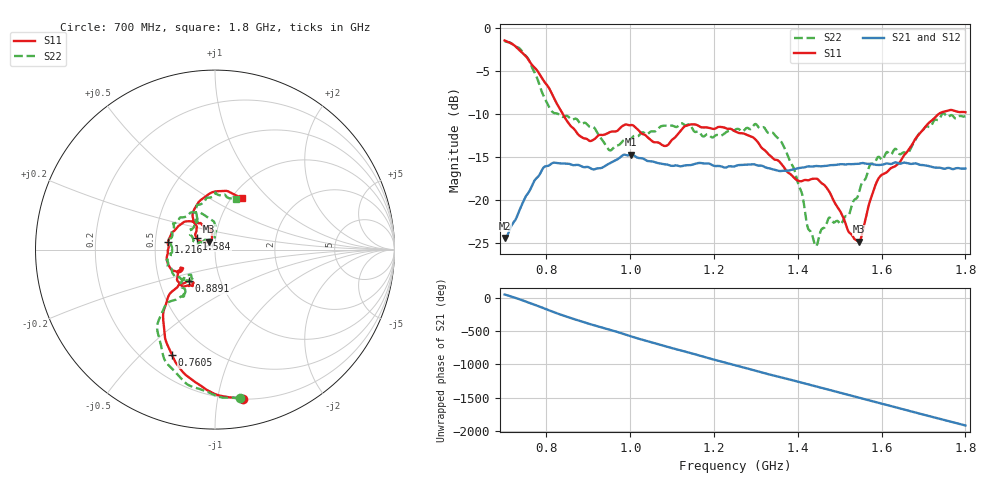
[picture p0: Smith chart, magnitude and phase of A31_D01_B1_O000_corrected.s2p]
! Created with skrf 1.9.0 (http://scikit-rf.org).
# Hz S RI R 50.0
!freq ReS11 ImS11 ReS21 ImS21 ReS12 ImS12 ReS22 ImS22
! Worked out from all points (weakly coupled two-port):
!   1601 points, 700 MHz to 1.8 GHz, reference 50 ohm
!   highest |S21| = -14.75 dB at 1.002 GHz (marker M1); lowest = -24.5 dB at 700.7 MHz (marker M2)
!   lowest |S11| = -24.9 dB at 1.546 GHz (marker M3), VSWR 1.12, Z = 46.4 + j4.18 ohm
!   |S11| at or under -10 dB: 838.8 MHz to 1.736 GHz (897.6 MHz wide, 69.7 % of centre)
!   |S22| runs from -25.4 to -1.5 dB; largest |S21 - S12| = 0.0036
!   S11 on the Smith chart (normalised r, x): 700 MHz: 0.20, -1.19; 760.5 MHz: 0.32, -0.62; 889.1 MHz: 0.71, -0.26; 1.216 GHz: 0.58, +0.05; 1.584 GHz: 0.81, +0.10; 1.8 GHz: 1.11, +0.71
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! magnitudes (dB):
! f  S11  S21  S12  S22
! 700 MHz  -1.4  -24.5  -24.2  -1.5
! 700.7 MHz  -1.5  -24.5  -24.2  -1.5
! 760.5 MHz  -4.0  -18.9  -18.8  -4.0
! 812.1 MHz  -7.6  -15.8  -15.8  -9.7
! 883.6 MHz  -12.7  -16.1  -16.0  -11.2
! 889.1 MHz  -12.8  -16.2  -16.1  -11.1
! 950.9 MHz  -12.1  -15.8  -15.8  -14.3
! 1.002 GHz  -11.3  -14.7  -14.9  -12.9
! 1.067 GHz  -13.3  -15.7  -15.7  -11.7
! 1.216 GHz  -11.5  -16.1  -16.1  -12.5
! 1.25 GHz  -12.0  -16.1  -16.0  -11.9
! 1.359 GHz  -15.7  -16.7  -16.6  -13.1
! 1.392 GHz  -17.5  -16.4  -16.4  -16.6
! 1.434 GHz  -17.6  -16.1  -16.1  -24.0
! 1.444 GHz  -17.6  -16.1  -16.1  -25.4
! 1.504 GHz  -21.7  -15.9  -15.9  -22.8
! 1.546 GHz  -24.9  -15.8  -15.8  -19.2
! 1.584 GHz  -18.5  -15.9  -15.9  -15.7
! 1.617 GHz  -16.6  -15.8  -15.8  -14.6
! 1.663 GHz  -14.3  -15.8  -15.8  -14.6
! 1.736 GHz  -10.0  -16.3  -16.3  -10.7
! 1.8 GHz  -9.8  -16.4  -16.4  -10.3
